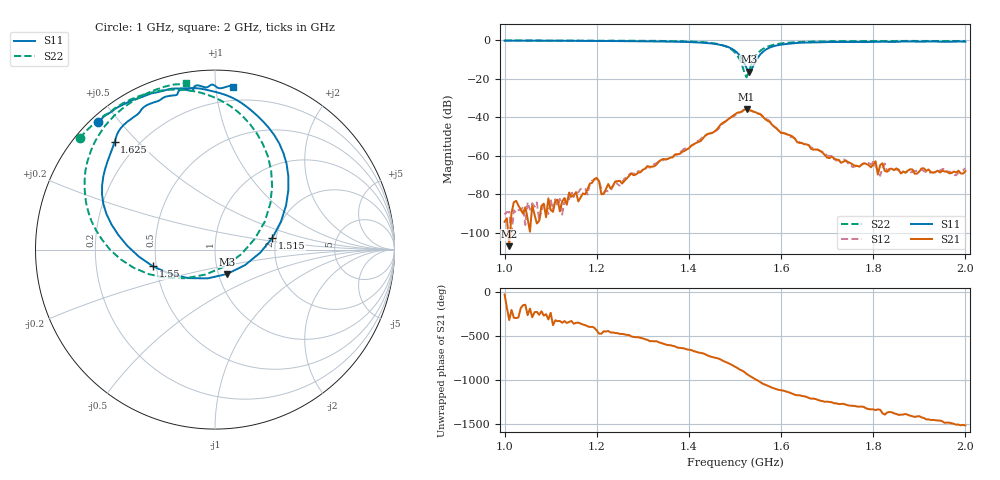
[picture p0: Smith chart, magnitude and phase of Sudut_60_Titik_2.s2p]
# Hz S RI R 50
! CMT, C1220, 16058040, 17.2.0/1
! Date: 14/08/2018 12:45:38
! Data: Format (Calibration Info)
! Freq  S11: Re/Im (F2)  S21: Re/Im (F2)  S12: Re/Im (F2)  S22: Re/Im (F2)
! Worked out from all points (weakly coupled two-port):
!   201 points, 1 GHz to 2 GHz, reference 50 ohm
!   highest |S21| = -35.77 dB at 1.525 GHz (marker M1); lowest = -106.9 dB at 1.01 GHz (marker M2)
!   lowest |S11| = -16.4 dB at 1.53 GHz (marker M3), VSWR 1.36, Z = 55 - j15.3 ohm
!   |S11| at or under -10 dB: 1.516 GHz to 1.547 GHz (31.66 MHz wide, 2.07 % of centre)
!   |S22| runs from -19.3 to -0.2 dB; largest |S21 - S12| = 0.00069
!   S11 on the Smith chart (normalised r, x): 1 GHz: 0.02, +0.44; 1.515 GHz: 1.91, +0.28; 1.55 GHz: 0.48, -0.10; 1.625 GHz: 0.12, +0.43; 2 GHz: 0.10, +1.11
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1e9  -0.6506 0.7127  1.64e-05 -1.04e-05  2.98e-05 -3.13e-06  -0.7537 0.6216
1.01e9  -0.6376 0.7224  3.53e-06 2.83e-06  2.94e-05 1.84e-05  -0.7467 0.6292
1.17e9  -0.48 0.8233  0.000103 -2.34e-05  0.00013 -4.54e-05  -0.6183 0.7466
1.18e9  -0.4649 0.8306  0.000117 -7.32e-05  8.9e-05 -4.24e-05  -0.6074 0.7529
1.2e9  -0.4375 0.8399  4.29e-05 -0.000264  4.13e-05 -0.000243  -0.5851 0.7599
1.21e9  -0.4279 0.8429  -4.56e-05 -8.94e-05  -7.46e-05 -0.00011  -0.5806 0.7642
1.23e9  -0.398 0.8536  -2.96e-05 -0.000137  -1.21e-06 -0.000123  -0.5632 0.7836
1.335e9  -0.2172 0.897  -0.000581 0.000401  -0.000563 0.000444  -0.404 0.8615
1.45e9  0.1823 0.7916  0.00361 -0.00138  0.00364 -0.00166  0.019 0.8372
1.5e9  0.4088 0.3323  -0.0075 -0.00916  -0.00707 -0.00862  0.3183 0.353
1.515e9  0.3196 0.0649  -0.0139 -0.00142  -0.014 -0.00185  0.2213 0.0597
1.525e9  0.1668 -0.0867  -0.0138 0.00858  -0.0141 0.0086  0.0541 -0.0939
1.53e9  0.0677 -0.1357  -0.00971 0.0114  -0.00981 0.0115  -0.0526 -0.1387
1.55e9  -0.3454 -0.0935  0.00417 0.0117  0.00369 0.0119  -0.4541 -0.1008
1.625e9  -0.5591 0.6014  0.000594 -0.00309  0.000618 -0.0029  -0.7028 0.5168
1.67e9  -0.4441 0.7444  -0.00097 -0.00106  -0.000996 -0.00116  -0.6279 0.6677
1.76e9  -0.2645 0.8545  -0.000442 0.000325  -0.000404 0.000329  -0.4861 0.8079
1.805e9  -0.1992 0.8863  -7.9e-05 0.000717  -0.00016 0.000511  -0.4218 0.8485
1.81e9  -0.1912 0.8902  -7.97e-05 0.000318  -8.34e-05 0.00041  -0.4151 0.8524
1.82e9  -0.1701 0.8916  0.000309 0.000557  5.5e-05 0.000489  -0.4014 0.8592
1.835e9  -0.1353 0.8849  0.000117 0.000441  9.97e-05 0.000399  -0.3815 0.8693
2e9  0.1021 0.9053  8.44e-05 -0.000391  7.37e-05 -0.00047  -0.1597 0.9299
